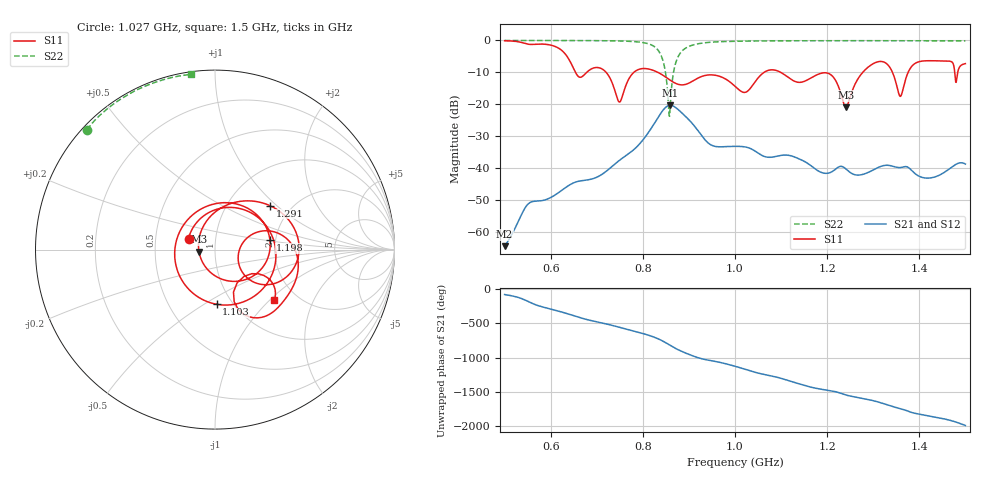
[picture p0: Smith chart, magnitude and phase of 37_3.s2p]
! TOUCHSTONE file generated by CST MICROWAVE STUDIO
! Date and time: Fri Dec 11 14:17:35 2020
! Project name: Scenario_1_Planar_Body_Tissue_Out_of_Line_v2.cst
! Parameters = {dy1=276.8; L_HA=400; Ltissue=700; MT=2.54; Rad_Dielectric=30; Rad_Lower=7.3; Rad_Upper=30; Wtissue=700; a_HA=580; a_WG=246; b_HA=500; b_WG=121; c_HA=0; c_WG=187; d_feed=85; dx1=520; h_feed=15; h_lower=18; h_upper=40; hfat=3; hgap=25; hmuscle=50; hskin=1.5}
! Header version: 2018
! Port assignment regex: !\s*Touchstone port\s*([0-9]+)\s*=\s*(CST MWS port|CST DS port)\s*([0-9]+|Zmin|Zmax)\s*\(\"(.*)\"\)(\s*mode\s*([0-9]+))?.*
! Touchstone port assignment:
! Touchstone port 1 = CST MWS port 1 ("")
! Touchstone port 2 = CST MWS port 2 ("")
# GHz S DB R 50
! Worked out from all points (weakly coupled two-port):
!   1003 points, 500 MHz to 1.5 GHz, reference 50 ohm
!   highest |S21| = -20.31 dB at 859 MHz (marker M1); lowest = -64.5 dB at 500 MHz (marker M2)
!   lowest |S11| = -20.9 dB at 1.241 GHz (marker M3), VSWR 1.20, Z = 41.8 - j0.969 ohm
!   |S11| at or under -10 dB: 720.4 MHz to 780.5 MHz (60.1 MHz wide, 8.01 % of centre); 832.5 MHz to 1.063 GHz (230.6 MHz wide, 24.3 % of centre); 1.099 GHz to 1.277 GHz (178.1 MHz wide, 15 % of centre) (the widest 3 of 6)
!   |S22| runs from -23.8 to 0.0 dB; largest |S21 - S12| = 3.6e-06
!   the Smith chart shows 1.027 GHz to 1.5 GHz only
!   S11 on the Smith chart (normalised r, x): 1.027 GHz: 0.74, +0.09; 1.103 GHz: 0.84, -0.57; 1.198 GHz: 1.87, +0.22; 1.291 GHz: 1.56, +0.90; 1.5 GHz: 1.55, -1.06
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0.5  -0.10 -122.0  -64.46 -77.1  -64.46 -77.1  -0.01 151.2
0.598  -1.40 -175.0  -49.37 73.5  -49.37 73.5  -0.02 144.3
0.667  -11.44 158.8  -43.95 -62.1  -43.95 -62.1  -0.04 138.4
0.713  -9.06 119.6  -41.79 -135.6  -41.79 -135.6  -0.08 133.3
0.749  -19.31 -28.6  -37.59 163.5  -37.59 163.5  -0.16 127.7
0.788  -9.26 163.9  -33.17 93.9  -33.17 93.9  -0.45 117.7
0.834  -10.11 57.3  -23.93 -7.5  -23.93 -7.5  -3.25 83.4
0.859  -12.43 -10.3  -20.31 -99.8  -20.31 -99.8  -21.69 -91.7
0.888  -13.91 -109.4  -23.17 160.4  -23.17 160.4  -2.92 177.4
0.934  -11.01 83.8  -30.99 53.2  -30.99 53.2  -0.74 153.2
1  -14.36 -94.3  -33.18 -46.6  -33.18 -46.6  -0.27 140.2
1.027  -15.93 157.4  -33.53 -101.3  -33.53 -101.3  -0.21 136.9
1.071  -9.43 0.2  -36.59 -176.5  -36.59 -176.5  -0.14 132.3
1.103  -10.33 -88.4  -35.96 130.7  -35.96 130.7  -0.12 129.4
1.167  -11.58 81.7  -39.50 3.8  -39.50 3.8  -0.10 124.2
1.198  -10.15 9.9  -41.65 -34.0  -41.64 -34.0  -0.09 121.8
1.241  -20.93 -172.6  -40.30 -108.2  -40.30 -108.2  -0.09 118.6
1.291  -8.13 38.7  -41.23 -175.9  -41.23 -175.9  -0.08 114.8
1.334  -8.02 -27.1  -39.15 100.9  -39.15 100.9  -0.09 111.5
1.359  -17.53 -8.1  -39.83 52.9  -39.83 52.9  -0.09 109.6
1.394  -6.95 -1.3  -42.08 -20.0  -42.08 -20.0  -0.09 106.8
1.5  -7.27 -40.2  -38.73 167.0  -38.73 167.0  -0.13 97.9
